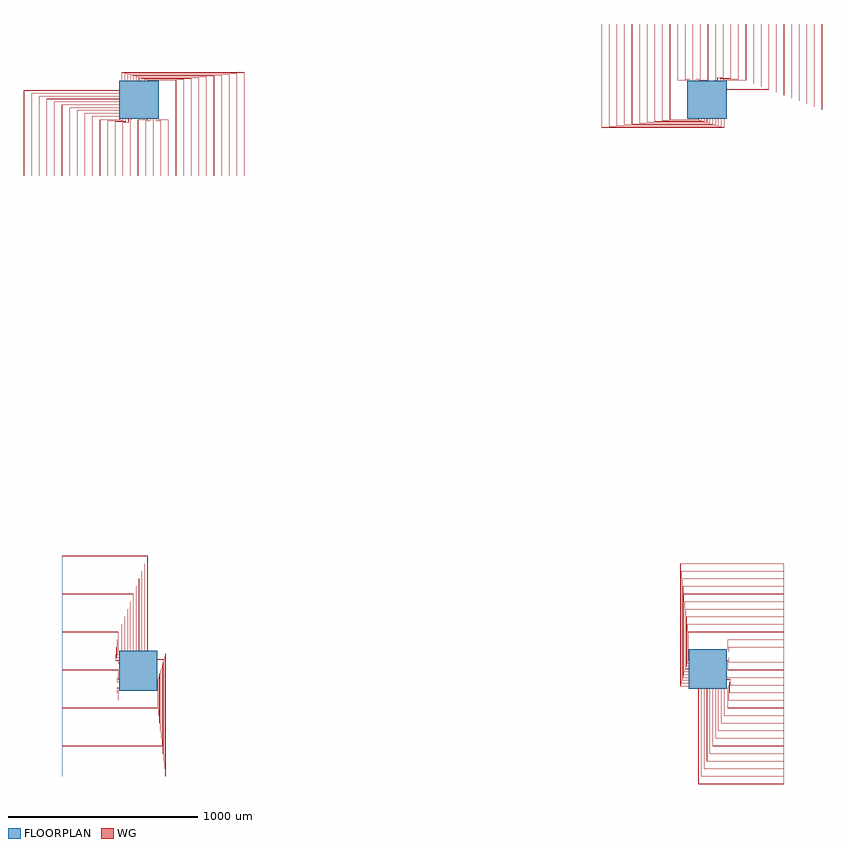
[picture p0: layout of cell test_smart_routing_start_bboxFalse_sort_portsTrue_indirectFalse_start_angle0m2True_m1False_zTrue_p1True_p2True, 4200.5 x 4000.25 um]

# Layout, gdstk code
import gdstk
lib = gdstk.Library(unit=1e-6, precision=1e-09)
def R(c, l, rs):  # rectangles x0, y0, x1, y1
    for r in rs: c.add(gdstk.rectangle(r[:2], r[2:], *l))
def P(c, l, *ps):  # polygons
    for p in ps: c.add(gdstk.Polygon(p, *l))
WG = (1, 0)
FLOORPLAN = (10, 0)

test_smart_routing_start = lib.new_cell('test_smart_routing_start_bboxFalse_sort_portsTrue_indirectFalse_start_angle0m2True_m1False_zTrue_p1True_p2True')
R(test_smart_routing_start, WG, [(-400,-80.25,-100,-80.05), (-400,-79.95,-100,-79.75), (3100,79.75,3400,79.95), (3100,80.05,3400,80.25), (79.75,2600,79.95,2900), (80.05,2600,80.25,2900), (2919.75,3100,2919.95,3400), (2920.05,3100,2920.25,3400)])
P(test_smart_routing_start, WG, [(3100,2950.05),(3100,2950.25),(3599.75,2950.25),(3599.75,3400),(3599.95,3400),(3599.95,2950.05)],
  [(3100,2949.75),(3100,2949.95),(3600.05,2949.95),(3600.05,3400),(3600.25,3400),(3600.25,2949.75)],
  [(3100,2965.05),(3100,2965.25),(3559.75,2965.25),(3559.75,3400),(3559.95,3400),(3559.95,2965.05)],
  [(3100,2964.75),(3100,2964.95),(3560.05,2964.95),(3560.05,3400),(3560.25,3400),(3560.25,2964.75)],
  [(3100,2980.05),(3100,2980.25),(3519.75,2980.25),(3519.75,3400),(3519.95,3400),(3519.95,2980.05)],
  [(3100,2979.75),(3100,2979.95),(3520.05,2979.95),(3520.05,3400),(3520.25,3400),(3520.25,2979.75)],
  [(3100,2995.05),(3100,2995.25),(3479.75,2995.25),(3479.75,3400),(3479.95,3400),(3479.95,2995.05)],
  [(3100,2994.75),(3100,2994.95),(3480.05,2994.95),(3480.05,3400),(3480.25,3400),(3480.25,2994.75)],
  [(3100,3010.05),(3100,3010.25),(3439.75,3010.25),(3439.75,3400),(3439.95,3400),(3439.95,3010.05)],
  [(3100,3009.75),(3100,3009.95),(3440.05,3009.95),(3440.05,3400),(3440.25,3400),(3440.25,3009.75)],
  [(3100,3025.05),(3100,3025.25),(3399.75,3025.25),(3399.75,3400),(3399.95,3400),(3399.95,3025.05)],
  [(3100,3024.75),(3100,3024.95),(3400.05,3024.95),(3400.05,3400),(3400.25,3400),(3400.25,3024.75)],
  [(3100,3040.05),(3100,3040.25),(3359.75,3040.25),(3359.75,3400),(3359.95,3400),(3359.95,3040.05)],
  [(3100,3039.75),(3100,3039.95),(3360.05,3039.95),(3360.05,3400),(3360.25,3400),(3360.25,3039.75)],
  [(3100,3055.05),(3100,3055.25),(3319.75,3055.25),(3319.75,3400),(3319.95,3400),(3319.95,3055.05)],
  [(3100,3054.75),(3100,3054.95),(3320.05,3054.95),(3320.05,3400),(3320.25,3400),(3320.25,3054.75)],
  [(3100,3070.05),(3100,3070.25),(3279.75,3070.25),(3279.75,3400),(3279.95,3400),(3279.95,3070.05)],
  [(3100,3069.75),(3100,3069.95),(3280.05,3069.95),(3280.05,3400),(3280.25,3400),(3280.25,3069.75)],
  [(3100,3085.05),(3100,3085.25),(3239.75,3085.25),(3239.75,3400),(3239.95,3400),(3239.95,3085.05)],
  [(3100,3084.75),(3100,3084.95),(3240.05,3084.95),(3240.05,3400),(3240.25,3400),(3240.25,3084.75)],
  [(3094.75,3100),(3094.75,3104.5),(3199.75,3104.5),(3199.75,3400),(3199.95,3400),(3199.95,3104.3),(3094.95,3104.3),(3094.95,3100)],
  [(3095.05,3100),(3095.05,3104.2),(3200.05,3104.2),(3200.05,3400),(3200.25,3400),(3200.25,3104),(3095.25,3104),(3095.25,3100)],
  [(3079.75,3100),(3079.75,3109),(3159.75,3109),(3159.75,3400),(3159.95,3400),(3159.95,3108.8),(3079.95,3108.8),(3079.95,3100)],
  [(3080.05,3100),(3080.05,3108.7),(3160.05,3108.7),(3160.05,3400),(3160.25,3400),(3160.25,3108.5),(3080.25,3108.5),(3080.25,3100)],
  [(3064.75,3100),(3064.75,3113.5),(3119.75,3113.5),(3119.75,3400),(3119.95,3400),(3119.95,3113.3),(3064.95,3113.3),(3064.95,3100)],
  [(3065.05,3100),(3065.05,3113.2),(3120.05,3113.2),(3120.05,3400),(3120.25,3400),(3120.25,3113),(3065.25,3113),(3065.25,3100)],
  [(3049.75,3100),(3049.75,3118),(3079.75,3118),(3079.75,3400),(3079.95,3400),(3079.95,3117.8),(3049.95,3117.8),(3049.95,3100)],
  [(3050.05,3100),(3050.05,3117.7),(3080.05,3117.7),(3080.05,3400),(3080.25,3400),(3080.25,3117.5),(3050.25,3117.5),(3050.25,3100)],
  [(3034.75,3100),(3034.75,3104.5),(3039.75,3104.5),(3039.75,3400),(3039.95,3400),(3039.95,3104.3),(3034.95,3104.3),(3034.95,3100)],
  [(3035.05,3100),(3035.05,3104.2),(3040.05,3104.2),(3040.05,3400),(3040.25,3400),(3040.25,3104),(3035.25,3104),(3035.25,3100)],
  [(2949.75,3100),(2949.75,3104.5),(2999.75,3104.5),(2999.75,3400),(2999.95,3400),(2999.95,3104.3),(2949.95,3104.3),(2949.95,3100)],
  [(2950.05,3100),(2950.05,3104.2),(3000.05,3104.2),(3000.05,3400),(3000.25,3400),(3000.25,3104),(2950.25,3104),(2950.25,3100)],
  [(2934.75,3100),(2934.75,3109),(2959.75,3109),(2959.75,3400),(2959.95,3400),(2959.95,3108.8),(2934.95,3108.8),(2934.95,3100)],
  [(2935.05,3100),(2935.05,3108.7),(2960.05,3108.7),(2960.05,3400),(2960.25,3400),(2960.25,3108.5),(2935.25,3108.5),(2935.25,3100)],
  [(2904.75,3100),(2904.75,3108.5),(2879.75,3108.5),(2879.75,3400),(2879.95,3400),(2879.95,3108.7),(2904.95,3108.7),(2904.95,3100)],
  [(2905.05,3100),(2905.05,3108.8),(2880.05,3108.8),(2880.05,3400),(2880.25,3400),(2880.25,3109),(2905.25,3109),(2905.25,3100)],
  [(2889.75,3100),(2889.75,3104),(2839.75,3104),(2839.75,3400),(2839.95,3400),(2839.95,3104.2),(2889.95,3104.2),(2889.95,3100)],
  [(2890.05,3100),(2890.05,3104.3),(2840.05,3104.3),(2840.05,3400),(2840.25,3400),(2840.25,3104.5),(2890.25,3104.5),(2890.25,3100)],
  [(2799.75,2895.5),(2799.75,3400),(2799.95,3400),(2799.95,2895.7),(2950.05,2895.7),(2950.05,2900),(2950.25,2900),(2950.25,2895.5)],
  [(2800.05,2895.8),(2800.05,3400),(2800.25,3400),(2800.25,2896),(2949.75,2896),(2949.75,2900),(2949.95,2900),(2949.95,2895.8)],
  [(2759.75,2891),(2759.75,3400),(2759.95,3400),(2759.95,2891.2),(2965.05,2891.2),(2965.05,2900),(2965.25,2900),(2965.25,2891)],
  [(2760.05,2891.3),(2760.05,3400),(2760.25,3400),(2760.25,2891.5),(2964.75,2891.5),(2964.75,2900),(2964.95,2900),(2964.95,2891.3)],
  [(2719.75,2886.5),(2719.75,3400),(2719.95,3400),(2719.95,2886.7),(2980.05,2886.7),(2980.05,2900),(2980.25,2900),(2980.25,2886.5)],
  [(2720.05,2886.8),(2720.05,3400),(2720.25,3400),(2720.25,2887),(2979.75,2887),(2979.75,2900),(2979.95,2900),(2979.95,2886.8)],
  [(2679.75,2882),(2679.75,3400),(2679.95,3400),(2679.95,2882.2),(2995.05,2882.2),(2995.05,2900),(2995.25,2900),(2995.25,2882)],
  [(2680.05,2882.3),(2680.05,3400),(2680.25,3400),(2680.25,2882.5),(2994.75,2882.5),(2994.75,2900),(2994.95,2900),(2994.95,2882.3)],
  [(2639.75,2877.5),(2639.75,3400),(2639.95,3400),(2639.95,2877.7),(3010.05,2877.7),(3010.05,2900),(3010.25,2900),(3010.25,2877.5)],
  [(2640.05,2877.8),(2640.05,3400),(2640.25,3400),(2640.25,2878),(3009.75,2878),(3009.75,2900),(3009.95,2900),(3009.95,2877.8)],
  [(2599.75,2873),(2599.75,3400),(2599.95,3400),(2599.95,2873.2),(3025.05,2873.2),(3025.05,2900),(3025.25,2900),(3025.25,2873)],
  [(2600.05,2873.3),(2600.05,3400),(2600.25,3400),(2600.25,2873.5),(3024.75,2873.5),(3024.75,2900),(3024.95,2900),(3024.95,2873.3)],
  [(2559.75,2868.5),(2559.75,3400),(2559.95,3400),(2559.95,2868.7),(3040.05,2868.7),(3040.05,2900),(3040.25,2900),(3040.25,2868.5)],
  [(2560.05,2868.8),(2560.05,3400),(2560.25,3400),(2560.25,2869),(3039.75,2869),(3039.75,2900),(3039.95,2900),(3039.95,2868.8)],
  [(2519.75,2864),(2519.75,3400),(2519.95,3400),(2519.95,2864.2),(3055.05,2864.2),(3055.05,2900),(3055.25,2900),(3055.25,2864)],
  [(2520.05,2864.3),(2520.05,3400),(2520.25,3400),(2520.25,2864.5),(3054.75,2864.5),(3054.75,2900),(3054.95,2900),(3054.95,2864.3)],
  [(2479.75,2859.5),(2479.75,3400),(2479.95,3400),(2479.95,2859.7),(3070.05,2859.7),(3070.05,2900),(3070.25,2900),(3070.25,2859.5)],
  [(2480.05,2859.8),(2480.05,3400),(2480.25,3400),(2480.25,2860),(3069.75,2860),(3069.75,2900),(3069.95,2900),(3069.95,2859.8)],
  [(2439.75,2855),(2439.75,3400),(2439.95,3400),(2439.95,2855.2),(3085.05,2855.2),(3085.05,2900),(3085.25,2900),(3085.25,2855)],
  [(2440.05,2855.3),(2440.05,3400),(2440.25,3400),(2440.25,2855.5),(3084.75,2855.5),(3084.75,2900),(3084.95,2900),(3084.95,2855.3)],
  [(-599.95,2600),(-599.95,3049.95),(-100,3049.95),(-100,3049.75),(-599.75,3049.75),(-599.75,2600)],
  [(-600.25,2600),(-600.25,3050.25),(-100,3050.25),(-100,3050.05),(-600.05,3050.05),(-600.05,2600)],
  [(-559.95,2600),(-559.95,3034.95),(-100,3034.95),(-100,3034.75),(-559.75,3034.75),(-559.75,2600)],
  [(-560.25,2600),(-560.25,3035.25),(-100,3035.25),(-100,3035.05),(-560.05,3035.05),(-560.05,2600)],
  [(-519.95,2600),(-519.95,3019.95),(-100,3019.95),(-100,3019.75),(-519.75,3019.75),(-519.75,2600)],
  [(-520.25,2600),(-520.25,3020.25),(-100,3020.25),(-100,3020.05),(-520.05,3020.05),(-520.05,2600)],
  [(-479.95,2600),(-479.95,3004.95),(-100,3004.95),(-100,3004.75),(-479.75,3004.75),(-479.75,2600)],
  [(-480.25,2600),(-480.25,3005.25),(-100,3005.25),(-100,3005.05),(-480.05,3005.05),(-480.05,2600)],
  [(-439.95,2600),(-439.95,2989.95),(-100,2989.95),(-100,2989.75),(-439.75,2989.75),(-439.75,2600)],
  [(-440.25,2600),(-440.25,2990.25),(-100,2990.25),(-100,2990.05),(-440.05,2990.05),(-440.05,2600)],
  [(-399.95,2600),(-399.95,2974.95),(-100,2974.95),(-100,2974.75),(-399.75,2974.75),(-399.75,2600)],
  [(-400.25,2600),(-400.25,2975.25),(-100,2975.25),(-100,2975.05),(-400.05,2975.05),(-400.05,2600)],
  [(-359.95,2600),(-359.95,2959.95),(-100,2959.95),(-100,2959.75),(-359.75,2959.75),(-359.75,2600)],
  [(-360.25,2600),(-360.25,2960.25),(-100,2960.25),(-100,2960.05),(-360.05,2960.05),(-360.05,2600)],
  [(-319.95,2600),(-319.95,2944.95),(-100,2944.95),(-100,2944.75),(-319.75,2944.75),(-319.75,2600)],
  [(-320.25,2600),(-320.25,2945.25),(-100,2945.25),(-100,2945.05),(-320.05,2945.05),(-320.05,2600)],
  [(-279.95,2600),(-279.95,2929.95),(-100,2929.95),(-100,2929.75),(-279.75,2929.75),(-279.75,2600)],
  [(-280.25,2600),(-280.25,2930.25),(-100,2930.25),(-100,2930.05),(-280.05,2930.05),(-280.05,2600)],
  [(-239.95,2600),(-239.95,2914.95),(-100,2914.95),(-100,2914.75),(-239.75,2914.75),(-239.75,2600)],
  [(-240.25,2600),(-240.25,2915.25),(-100,2915.25),(-100,2915.05),(-240.05,2915.05),(-240.05,2600)],
  [(-200.25,2600),(-200.25,2896),(-95.25,2896),(-95.25,2900),(-95.05,2900),(-95.05,2895.8),(-200.05,2895.8),(-200.05,2600)],
  [(-199.95,2600),(-199.95,2895.7),(-94.95,2895.7),(-94.95,2900),(-94.75,2900),(-94.75,2895.5),(-199.75,2895.5),(-199.75,2600)],
  [(-160.25,2600),(-160.25,2891.5),(-80.25,2891.5),(-80.25,2900),(-80.05,2900),(-80.05,2891.3),(-160.05,2891.3),(-160.05,2600)],
  [(-159.95,2600),(-159.95,2891.2),(-79.95,2891.2),(-79.95,2900),(-79.75,2900),(-79.75,2891),(-159.75,2891),(-159.75,2600)],
  [(-120.25,2600),(-120.25,2887),(-65.25,2887),(-65.25,2900),(-65.05,2900),(-65.05,2886.8),(-120.05,2886.8),(-120.05,2600)],
  [(-119.95,2600),(-119.95,2886.7),(-64.95,2886.7),(-64.95,2900),(-64.75,2900),(-64.75,2886.5),(-119.75,2886.5),(-119.75,2600)],
  [(-80.25,2600),(-80.25,2882.5),(-50.25,2882.5),(-50.25,2900),(-50.05,2900),(-50.05,2882.3),(-80.05,2882.3),(-80.05,2600)],
  [(-79.95,2600),(-79.95,2882.2),(-49.95,2882.2),(-49.95,2900),(-49.75,2900),(-49.75,2882),(-79.75,2882),(-79.75,2600)],
  [(-40.25,2600),(-40.25,2896),(-35.25,2896),(-35.25,2900),(-35.05,2900),(-35.05,2895.8),(-40.05,2895.8),(-40.05,2600)],
  [(-39.95,2600),(-39.95,2895.7),(-34.95,2895.7),(-34.95,2900),(-34.75,2900),(-34.75,2895.5),(-39.75,2895.5),(-39.75,2600)],
  [(-0.25,2600),(-0.25,2896),(49.75,2896),(49.75,2900),(49.95,2900),(49.95,2895.8),(-0.05,2895.8),(-0.05,2600)],
  [(0.05,2600),(0.05,2895.7),(50.05,2895.7),(50.05,2900),(50.25,2900),(50.25,2895.5),(0.25,2895.5),(0.25,2600)],
  [(39.75,2600),(39.75,2891.5),(64.75,2891.5),(64.75,2900),(64.95,2900),(64.95,2891.3),(39.95,2891.3),(39.95,2600)],
  [(40.05,2600),(40.05,2891.2),(65.05,2891.2),(65.05,2900),(65.25,2900),(65.25,2891),(40.25,2891),(40.25,2600)],
  [(119.75,2600),(119.75,2891),(94.75,2891),(94.75,2900),(94.95,2900),(94.95,2891.2),(119.95,2891.2),(119.95,2600)],
  [(120.05,2600),(120.05,2891.3),(95.05,2891.3),(95.05,2900),(95.25,2900),(95.25,2891.5),(120.25,2891.5),(120.25,2600)],
  [(159.75,2600),(159.75,2895.5),(109.75,2895.5),(109.75,2900),(109.95,2900),(109.95,2895.7),(159.95,2895.7),(159.95,2600)],
  [(160.05,2600),(160.05,2895.8),(110.05,2895.8),(110.05,2900),(110.25,2900),(110.25,2896),(160.25,2896),(160.25,2600)],
  [(199.75,2600),(199.75,3104),(50.25,3104),(50.25,3100),(50.05,3100),(50.05,3104.2),(199.95,3104.2),(199.95,2600)],
  [(200.05,2600),(200.05,3104.3),(49.95,3104.3),(49.95,3100),(49.75,3100),(49.75,3104.5),(200.25,3104.5),(200.25,2600)],
  [(239.75,2600),(239.75,3108.5),(35.25,3108.5),(35.25,3100),(35.05,3100),(35.05,3108.7),(239.95,3108.7),(239.95,2600)],
  [(240.05,2600),(240.05,3108.8),(34.95,3108.8),(34.95,3100),(34.75,3100),(34.75,3109),(240.25,3109),(240.25,2600)],
  [(279.75,2600),(279.75,3113),(20.25,3113),(20.25,3100),(20.05,3100),(20.05,3113.2),(279.95,3113.2),(279.95,2600)],
  [(280.05,2600),(280.05,3113.3),(19.95,3113.3),(19.95,3100),(19.75,3100),(19.75,3113.5),(280.25,3113.5),(280.25,2600)],
  [(319.75,2600),(319.75,3117.5),(5.25,3117.5),(5.25,3100),(5.05,3100),(5.05,3117.7),(319.95,3117.7),(319.95,2600)],
  [(320.05,2600),(320.05,3117.8),(4.95,3117.8),(4.95,3100),(4.75,3100),(4.75,3118),(320.25,3118),(320.25,2600)],
  [(359.75,2600),(359.75,3122),(-9.75,3122),(-9.75,3100),(-9.95,3100),(-9.95,3122.2),(359.95,3122.2),(359.95,2600)],
  [(360.05,2600),(360.05,3122.3),(-10.05,3122.3),(-10.05,3100),(-10.25,3100),(-10.25,3122.5),(360.25,3122.5),(360.25,2600)],
  [(399.75,2600),(399.75,3126.5),(-24.75,3126.5),(-24.75,3100),(-24.95,3100),(-24.95,3126.7),(399.95,3126.7),(399.95,2600)],
  [(400.05,2600),(400.05,3126.8),(-25.05,3126.8),(-25.05,3100),(-25.25,3100),(-25.25,3127),(400.25,3127),(400.25,2600)],
  [(439.75,2600),(439.75,3131),(-39.75,3131),(-39.75,3100),(-39.95,3100),(-39.95,3131.2),(439.95,3131.2),(439.95,2600)],
  [(440.05,2600),(440.05,3131.3),(-40.05,3131.3),(-40.05,3100),(-40.25,3100),(-40.25,3131.5),(440.25,3131.5),(440.25,2600)],
  [(479.75,2600),(479.75,3135.5),(-54.75,3135.5),(-54.75,3100),(-54.95,3100),(-54.95,3135.7),(479.95,3135.7),(479.95,2600)],
  [(480.05,2600),(480.05,3135.8),(-55.05,3135.8),(-55.05,3100),(-55.25,3100),(-55.25,3136),(480.25,3136),(480.25,2600)],
  [(519.75,2600),(519.75,3140),(-69.75,3140),(-69.75,3100),(-69.95,3100),(-69.95,3140.2),(519.95,3140.2),(519.95,2600)],
  [(520.05,2600),(520.05,3140.3),(-70.05,3140.3),(-70.05,3100),(-70.25,3100),(-70.25,3140.5),(520.25,3140.5),(520.25,2600)],
  [(559.75,2600),(559.75,3144.5),(-84.75,3144.5),(-84.75,3100),(-84.95,3100),(-84.95,3144.7),(559.95,3144.7),(559.95,2600)],
  [(560.05,2600),(560.05,3144.8),(-85.05,3144.8),(-85.05,3100),(-85.25,3100),(-85.25,3145),(560.25,3145),(560.25,2600)],
  [(49.75,100),(49.75,599.75),(-400,599.75),(-400,599.95),(49.95,599.95),(49.95,100)],
  [(50.05,100),(50.05,600.05),(-400,600.05),(-400,600.25),(50.25,600.25),(50.25,100)],
  [(34.75,100),(34.75,559.75),(-400,559.75),(-400,559.95),(34.95,559.95),(34.95,100)],
  [(35.05,100),(35.05,560.05),(-400,560.05),(-400,560.25),(35.25,560.25),(35.25,100)],
  [(19.75,100),(19.75,519.75),(-400,519.75),(-400,519.95),(19.95,519.95),(19.95,100)],
  [(20.05,100),(20.05,520.05),(-400,520.05),(-400,520.25),(20.25,520.25),(20.25,100)],
  [(4.75,100),(4.75,479.75),(-400,479.75),(-400,479.95),(4.95,479.95),(4.95,100)],
  [(5.05,100),(5.05,480.05),(-400,480.05),(-400,480.25),(5.25,480.25),(5.25,100)],
  [(-10.25,100),(-10.25,439.75),(-400,439.75),(-400,439.95),(-10.05,439.95),(-10.05,100)],
  [(-9.95,100),(-9.95,440.05),(-400,440.05),(-400,440.25),(-9.75,440.25),(-9.75,100)],
  [(-25.25,100),(-25.25,399.75),(-400,399.75),(-400,399.95),(-25.05,399.95),(-25.05,100)],
  [(-24.95,100),(-24.95,400.05),(-400,400.05),(-400,400.25),(-24.75,400.25),(-24.75,100)],
  [(-40.25,100),(-40.25,359.75),(-400,359.75),(-400,359.95),(-40.05,359.95),(-40.05,100)],
  [(-39.95,100),(-39.95,360.05),(-400,360.05),(-400,360.25),(-39.75,360.25),(-39.75,100)],
  [(-55.25,100),(-55.25,319.75),(-400,319.75),(-400,319.95),(-55.05,319.95),(-55.05,100)],
  [(-54.95,100),(-54.95,320.05),(-400,320.05),(-400,320.25),(-54.75,320.25),(-54.75,100)],
  [(-70.25,100),(-70.25,279.75),(-400,279.75),(-400,279.95),(-70.05,279.95),(-70.05,100)],
  [(-69.95,100),(-69.95,280.05),(-400,280.05),(-400,280.25),(-69.75,280.25),(-69.75,100)],
  [(-85.25,100),(-85.25,239.75),(-400,239.75),(-400,239.95),(-85.05,239.95),(-85.05,100)],
  [(-84.95,100),(-84.95,240.05),(-400,240.05),(-400,240.25),(-84.75,240.25),(-84.75,100)],
  [(-104.5,94.75),(-104.5,199.75),(-400,199.75),(-400,199.95),(-104.3,199.95),(-104.3,94.95),(-100,94.95),(-100,94.75)],
  [(-104.2,95.05),(-104.2,200.05),(-400,200.05),(-400,200.25),(-104,200.25),(-104,95.25),(-100,95.25),(-100,95.05)],
  [(-109,79.75),(-109,159.75),(-400,159.75),(-400,159.95),(-108.8,159.95),(-108.8,79.95),(-100,79.95),(-100,79.75)],
  [(-108.7,80.05),(-108.7,160.05),(-400,160.05),(-400,160.25),(-108.5,160.25),(-108.5,80.25),(-100,80.25),(-100,80.05)],
  [(-113.5,64.75),(-113.5,119.75),(-400,119.75),(-400,119.95),(-113.3,119.95),(-113.3,64.95),(-100,64.95),(-100,64.75)],
  [(-113.2,65.05),(-113.2,120.05),(-400,120.05),(-400,120.25),(-113,120.25),(-113,65.25),(-100,65.25),(-100,65.05)],
  [(-118,49.75),(-118,79.75),(-400,79.75),(-400,79.95),(-117.8,79.95),(-117.8,49.95),(-100,49.95),(-100,49.75)],
  [(-117.7,50.05),(-117.7,80.05),(-400,80.05),(-400,80.25),(-117.5,80.25),(-117.5,50.25),(-100,50.25),(-100,50.05)],
  [(-104.5,34.75),(-104.5,39.75),(-400,39.75),(-400,39.95),(-104.3,39.95),(-104.3,34.95),(-100,34.95),(-100,34.75)],
  [(-104.2,35.05),(-104.2,40.05),(-400,40.05),(-400,40.25),(-104,40.25),(-104,35.25),(-100,35.25),(-100,35.05)],
  [(-104.5,-50.25),(-104.5,-0.25),(-400,-0.25),(-400,-0.05),(-104.3,-0.05),(-104.3,-50.05),(-100,-50.05),(-100,-50.25)],
  [(-104.2,-49.95),(-104.2,0.05),(-400,0.05),(-400,0.25),(-104,0.25),(-104,-49.75),(-100,-49.75),(-100,-49.95)],
  [(-109,-65.25),(-109,-40.25),(-400,-40.25),(-400,-40.05),(-108.8,-40.05),(-108.8,-65.05),(-100,-65.05),(-100,-65.25)],
  [(-108.7,-64.95),(-108.7,-39.95),(-400,-39.95),(-400,-39.75),(-108.5,-39.75),(-108.5,-64.75),(-100,-64.75),(-100,-64.95)],
  [(-400,-120.25),(-400,-120.05),(-108.7,-120.05),(-108.7,-95.05),(-100,-95.05),(-100,-95.25),(-108.5,-95.25),(-108.5,-120.25)],
  [(-400,-119.95),(-400,-119.75),(-109,-119.75),(-109,-94.75),(-100,-94.75),(-100,-94.95),(-108.8,-94.95),(-108.8,-119.95)],
  [(-400,-160.25),(-400,-160.05),(-104.2,-160.05),(-104.2,-110.05),(-100,-110.05),(-100,-110.25),(-104,-110.25),(-104,-160.25)],
  [(-400,-159.95),(-400,-159.75),(-104.5,-159.75),(-104.5,-109.75),(-100,-109.75),(-100,-109.95),(-104.3,-109.95),(-104.3,-159.95)],
  [(-400,-199.95),(-400,-199.75),(104,-199.75),(104,-50.25),(100,-50.25),(100,-50.05),(104.2,-50.05),(104.2,-199.95)],
  [(-400,-200.25),(-400,-200.05),(104.3,-200.05),(104.3,-49.95),(100,-49.95),(100,-49.75),(104.5,-49.75),(104.5,-200.25)],
  [(-400,-239.95),(-400,-239.75),(108.5,-239.75),(108.5,-35.25),(100,-35.25),(100,-35.05),(108.7,-35.05),(108.7,-239.95)],
  [(-400,-240.25),(-400,-240.05),(108.8,-240.05),(108.8,-34.95),(100,-34.95),(100,-34.75),(109,-34.75),(109,-240.25)],
  [(-400,-279.95),(-400,-279.75),(113,-279.75),(113,-20.25),(100,-20.25),(100,-20.05),(113.2,-20.05),(113.2,-279.95)],
  [(-400,-280.25),(-400,-280.05),(113.3,-280.05),(113.3,-19.95),(100,-19.95),(100,-19.75),(113.5,-19.75),(113.5,-280.25)],
  [(-400,-319.95),(-400,-319.75),(117.5,-319.75),(117.5,-5.25),(100,-5.25),(100,-5.05),(117.7,-5.05),(117.7,-319.95)],
  [(-400,-320.25),(-400,-320.05),(117.8,-320.05),(117.8,-4.95),(100,-4.95),(100,-4.75),(118,-4.75),(118,-320.25)],
  [(-400,-359.95),(-400,-359.75),(122,-359.75),(122,9.75),(100,9.75),(100,9.95),(122.2,9.95),(122.2,-359.95)],
  [(-400,-360.25),(-400,-360.05),(122.3,-360.05),(122.3,10.05),(100,10.05),(100,10.25),(122.5,10.25),(122.5,-360.25)],
  [(-400,-399.95),(-400,-399.75),(126.5,-399.75),(126.5,24.75),(100,24.75),(100,24.95),(126.7,24.95),(126.7,-399.95)],
  [(-400,-400.25),(-400,-400.05),(126.8,-400.05),(126.8,25.05),(100,25.05),(100,25.25),(127,25.25),(127,-400.25)],
  [(-400,-439.95),(-400,-439.75),(131,-439.75),(131,39.75),(100,39.75),(100,39.95),(131.2,39.95),(131.2,-439.95)],
  [(-400,-440.25),(-400,-440.05),(131.3,-440.05),(131.3,40.05),(100,40.05),(100,40.25),(131.5,40.25),(131.5,-440.25)],
  [(-400,-479.95),(-400,-479.75),(135.5,-479.75),(135.5,54.75),(100,54.75),(100,54.95),(135.7,54.95),(135.7,-479.95)],
  [(-400,-480.25),(-400,-480.05),(135.8,-480.05),(135.8,55.05),(100,55.05),(100,55.25),(136,55.25),(136,-480.25)],
  [(-400,-519.95),(-400,-519.75),(140,-519.75),(140,69.75),(100,69.75),(100,69.95),(140.2,69.95),(140.2,-519.95)],
  [(-400,-520.25),(-400,-520.05),(140.3,-520.05),(140.3,70.05),(100,70.05),(100,70.25),(140.5,70.25),(140.5,-520.25)],
  [(-400,-559.95),(-400,-559.75),(144.5,-559.75),(144.5,84.75),(100,84.75),(100,84.95),(144.7,84.95),(144.7,-559.95)],
  [(-400,-560.25),(-400,-560.05),(144.8,-560.05),(144.8,85.05),(100,85.05),(100,85.25),(145,85.25),(145,-560.25)],
  [(2949.75,-600.25),(2949.75,-100),(2949.95,-100),(2949.95,-600.05),(3400,-600.05),(3400,-600.25)],
  [(2950.05,-599.95),(2950.05,-100),(2950.25,-100),(2950.25,-599.75),(3400,-599.75),(3400,-599.95)],
  [(2964.75,-560.25),(2964.75,-100),(2964.95,-100),(2964.95,-560.05),(3400,-560.05),(3400,-560.25)],
  [(2965.05,-559.95),(2965.05,-100),(2965.25,-100),(2965.25,-559.75),(3400,-559.75),(3400,-559.95)],
  [(2979.75,-520.25),(2979.75,-100),(2979.95,-100),(2979.95,-520.05),(3400,-520.05),(3400,-520.25)],
  [(2980.05,-519.95),(2980.05,-100),(2980.25,-100),(2980.25,-519.75),(3400,-519.75),(3400,-519.95)],
  [(2994.75,-480.25),(2994.75,-100),(2994.95,-100),(2994.95,-480.05),(3400,-480.05),(3400,-480.25)],
  [(2995.05,-479.95),(2995.05,-100),(2995.25,-100),(2995.25,-479.75),(3400,-479.75),(3400,-479.95)],
  [(3009.75,-440.25),(3009.75,-100),(3009.95,-100),(3009.95,-440.05),(3400,-440.05),(3400,-440.25)],
  [(3010.05,-439.95),(3010.05,-100),(3010.25,-100),(3010.25,-439.75),(3400,-439.75),(3400,-439.95)],
  [(3024.75,-400.25),(3024.75,-100),(3024.95,-100),(3024.95,-400.05),(3400,-400.05),(3400,-400.25)],
  [(3025.05,-399.95),(3025.05,-100),(3025.25,-100),(3025.25,-399.75),(3400,-399.75),(3400,-399.95)],
  [(3039.75,-360.25),(3039.75,-100),(3039.95,-100),(3039.95,-360.05),(3400,-360.05),(3400,-360.25)],
  [(3040.05,-359.95),(3040.05,-100),(3040.25,-100),(3040.25,-359.75),(3400,-359.75),(3400,-359.95)],
  [(3054.75,-320.25),(3054.75,-100),(3054.95,-100),(3054.95,-320.05),(3400,-320.05),(3400,-320.25)],
  [(3055.05,-319.95),(3055.05,-100),(3055.25,-100),(3055.25,-319.75),(3400,-319.75),(3400,-319.95)],
  [(3069.75,-280.25),(3069.75,-100),(3069.95,-100),(3069.95,-280.05),(3400,-280.05),(3400,-280.25)],
  [(3070.05,-279.95),(3070.05,-100),(3070.25,-100),(3070.25,-279.75),(3400,-279.75),(3400,-279.95)],
  [(3084.75,-240.25),(3084.75,-100),(3084.95,-100),(3084.95,-240.05),(3400,-240.05),(3400,-240.25)],
  [(3085.05,-239.95),(3085.05,-100),(3085.25,-100),(3085.25,-239.75),(3400,-239.75),(3400,-239.95)],
  [(3104,-200.25),(3104,-95.25),(3100,-95.25),(3100,-95.05),(3104.2,-95.05),(3104.2,-200.05),(3400,-200.05),(3400,-200.25)],
  [(3104.3,-199.95),(3104.3,-94.95),(3100,-94.95),(3100,-94.75),(3104.5,-94.75),(3104.5,-199.75),(3400,-199.75),(3400,-199.95)],
  [(3108.5,-160.25),(3108.5,-80.25),(3100,-80.25),(3100,-80.05),(3108.7,-80.05),(3108.7,-160.05),(3400,-160.05),(3400,-160.25)],
  [(3108.8,-159.95),(3108.8,-79.95),(3100,-79.95),(3100,-79.75),(3109,-79.75),(3109,-159.75),(3400,-159.75),(3400,-159.95)],
  [(3113,-120.25),(3113,-65.25),(3100,-65.25),(3100,-65.05),(3113.2,-65.05),(3113.2,-120.05),(3400,-120.05),(3400,-120.25)],
  [(3113.3,-119.95),(3113.3,-64.95),(3100,-64.95),(3100,-64.75),(3113.5,-64.75),(3113.5,-119.75),(3400,-119.75),(3400,-119.95)],
  [(3117.5,-80.25),(3117.5,-50.25),(3100,-50.25),(3100,-50.05),(3117.7,-50.05),(3117.7,-80.05),(3400,-80.05),(3400,-80.25)],
  [(3117.8,-79.95),(3117.8,-49.95),(3100,-49.95),(3100,-49.75),(3118,-49.75),(3118,-79.75),(3400,-79.75),(3400,-79.95)],
  [(3104,-40.25),(3104,-35.25),(3100,-35.25),(3100,-35.05),(3104.2,-35.05),(3104.2,-40.05),(3400,-40.05),(3400,-40.25)],
  [(3104.3,-39.95),(3104.3,-34.95),(3100,-34.95),(3100,-34.75),(3104.5,-34.75),(3104.5,-39.75),(3400,-39.75),(3400,-39.95)],
  [(3104,-0.25),(3104,49.75),(3100,49.75),(3100,49.95),(3104.2,49.95),(3104.2,-0.05),(3400,-0.05),(3400,-0.25)],
  [(3104.3,0.05),(3104.3,50.05),(3100,50.05),(3100,50.25),(3104.5,50.25),(3104.5,0.25),(3400,0.25),(3400,0.05)],
  [(3108.5,39.75),(3108.5,64.75),(3100,64.75),(3100,64.95),(3108.7,64.95),(3108.7,39.95),(3400,39.95),(3400,39.75)],
  [(3108.8,40.05),(3108.8,65.05),(3100,65.05),(3100,65.25),(3109,65.25),(3109,40.25),(3400,40.25),(3400,40.05)],
  [(3100,94.75),(3100,94.95),(3108.8,94.95),(3108.8,119.95),(3400,119.95),(3400,119.75),(3109,119.75),(3109,94.75)],
  [(3100,95.05),(3100,95.25),(3108.5,95.25),(3108.5,120.25),(3400,120.25),(3400,120.05),(3108.7,120.05),(3108.7,95.05)],
  [(3100,109.75),(3100,109.95),(3104.3,109.95),(3104.3,159.95),(3400,159.95),(3400,159.75),(3104.5,159.75),(3104.5,109.75)],
  [(3100,110.05),(3100,110.25),(3104,110.25),(3104,160.25),(3400,160.25),(3400,160.05),(3104.2,160.05),(3104.2,110.05)],
  [(2895.8,50.05),(2895.8,199.95),(3400,199.95),(3400,199.75),(2896,199.75),(2896,50.25),(2900,50.25),(2900,50.05)],
  [(2895.5,49.75),(2895.5,200.25),(3400,200.25),(3400,200.05),(2895.7,200.05),(2895.7,49.95),(2900,49.95),(2900,49.75)],
  [(2891.3,35.05),(2891.3,239.95),(3400,239.95),(3400,239.75),(2891.5,239.75),(2891.5,35.25),(2900,35.25),(2900,35.05)],
  [(2891,34.75),(2891,240.25),(3400,240.25),(3400,240.05),(2891.2,240.05),(2891.2,34.95),(2900,34.95),(2900,34.75)],
  [(2886.8,20.05),(2886.8,279.95),(3400,279.95),(3400,279.75),(2887,279.75),(2887,20.25),(2900,20.25),(2900,20.05)],
  [(2886.5,19.75),(2886.5,280.25),(3400,280.25),(3400,280.05),(2886.7,280.05),(2886.7,19.95),(2900,19.95),(2900,19.75)],
  [(2882.3,5.05),(2882.3,319.95),(3400,319.95),(3400,319.75),(2882.5,319.75),(2882.5,5.25),(2900,5.25),(2900,5.05)],
  [(2882,4.75),(2882,320.25),(3400,320.25),(3400,320.05),(2882.2,320.05),(2882.2,4.95),(2900,4.95),(2900,4.75)],
  [(2877.8,-9.95),(2877.8,359.95),(3400,359.95),(3400,359.75),(2878,359.75),(2878,-9.75),(2900,-9.75),(2900,-9.95)],
  [(2877.5,-10.25),(2877.5,360.25),(3400,360.25),(3400,360.05),(2877.7,360.05),(2877.7,-10.05),(2900,-10.05),(2900,-10.25)],
  [(2873.3,-24.95),(2873.3,399.95),(3400,399.95),(3400,399.75),(2873.5,399.75),(2873.5,-24.75),(2900,-24.75),(2900,-24.95)],
  [(2873,-25.25),(2873,400.25),(3400,400.25),(3400,400.05),(2873.2,400.05),(2873.2,-25.05),(2900,-25.05),(2900,-25.25)],
  [(2868.8,-39.95),(2868.8,439.95),(3400,439.95),(3400,439.75),(2869,439.75),(2869,-39.75),(2900,-39.75),(2900,-39.95)],
  [(2868.5,-40.25),(2868.5,440.25),(3400,440.25),(3400,440.05),(2868.7,440.05),(2868.7,-40.05),(2900,-40.05),(2900,-40.25)],
  [(2864.3,-54.95),(2864.3,479.95),(3400,479.95),(3400,479.75),(2864.5,479.75),(2864.5,-54.75),(2900,-54.75),(2900,-54.95)],
  [(2864,-55.25),(2864,480.25),(3400,480.25),(3400,480.05),(2864.2,480.05),(2864.2,-55.05),(2900,-55.05),(2900,-55.25)],
  [(2859.8,-69.95),(2859.8,519.95),(3400,519.95),(3400,519.75),(2860,519.75),(2860,-69.75),(2900,-69.75),(2900,-69.95)],
  [(2859.5,-70.25),(2859.5,520.25),(3400,520.25),(3400,520.05),(2859.7,520.05),(2859.7,-70.05),(2900,-70.05),(2900,-70.25)],
  [(2855.3,-84.95),(2855.3,559.95),(3400,559.95),(3400,559.75),(2855.5,559.75),(2855.5,-84.75),(2900,-84.75),(2900,-84.95)],
  [(2855,-85.25),(2855,560.25),(3400,560.25),(3400,560.05),(2855.2,560.05),(2855.2,-85.05),(2900,-85.05),(2900,-85.25)])
R(test_smart_routing_start, FLOORPLAN, [(-100,-110,100,100), (2900,-100,3100,110), (-100,2900,110,3100), (2890,2900,3100,3100)])
P(test_smart_routing_start, FLOORPLAN, [(-400,-560),(-400,600),(-400,600),(-400,-560)],
  [(-600,2600),(-600,2600),(560,2600),(560,2600)],
  [(3400,-600),(3400,560),(3400,560),(3400,-600)],
  [(2440,3400),(2440,3400),(3600,3400),(3600,3400)])

lib.write_gds('test_smart_routing_start_bboxFalse_sort_portsTrue_indirectFalse_start_angle0m2True_m1False_zTrue_p1True_p2True.gds')
